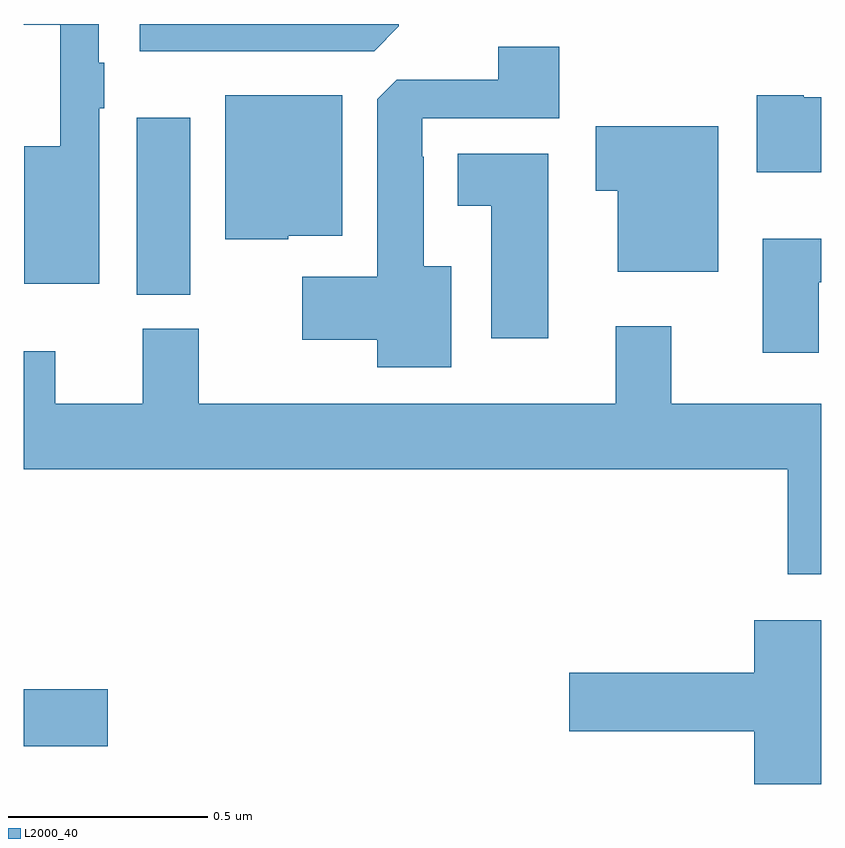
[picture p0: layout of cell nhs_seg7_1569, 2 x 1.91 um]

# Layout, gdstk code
import gdstk
lib = gdstk.Library(unit=1e-6, precision=1e-09)
def R(c, l, rs):  # rectangles x0, y0, x1, y1
    for r in rs: c.add(gdstk.rectangle(r[:2], r[2:], *l))
def P(c, l, *ps):  # polygons
    for p in ps: c.add(gdstk.Polygon(p, *l))
L2000_40 = (2000, 40)

nhs_seg7_1569 = lib.new_cell('nhs_seg7_1569')
R(nhs_seg7_1569, L2000_40, [(132,1065.19,132.211,1065.332), (132.284,1066.321,132.418,1066.765)])
P(nhs_seg7_1569, L2000_40, [(132.941,1066.994),(132.941,1067),(132.291,1067),(132.291,1066.932),(132.879,1066.932)],
  [(132.19,1066.789),(132.202,1066.789),(132.202,1066.903),(132.189,1066.903),(132.189,1067),(132,1067),(132,1066.998),(132.092,1066.998),(132.092,1066.693),(132.002,1066.693),(132.002,1066.349),(132.19,1066.349)],
  [(133.072,1066.393),(133.003,1066.393),(133.003,1066.667),(132.999,1066.667),(132.999,1066.764),(133.343,1066.764),(133.343,1066.943),(133.19,1066.943),(133.19,1066.86),(132.936,1066.86),(132.887,1066.811),(132.887,1066.366),(132.699,1066.366),(132.699,1066.208),(132.887,1066.208),(132.887,1066.139),(133.072,1066.139)],
  [(132.663,1066.469),(132.799,1066.469),(132.799,1066.822),(132.506,1066.822),(132.506,1066.46),(132.663,1066.46)],
  [(134,1066.816),(133.956,1066.816),(133.956,1066.822),(133.838,1066.822),(133.838,1066.628),(134,1066.628)],
  [(133.741,1066.744),(133.434,1066.744),(133.434,1066.582),(133.49,1066.582),(133.49,1066.379),(133.741,1066.379)],
  [(133.315,1066.675),(133.088,1066.675),(133.088,1066.544),(133.172,1066.544),(133.172,1066.212),(133.315,1066.212)],
  [(133.993,1066.353),(134,1066.353),(134,1066.462),(133.853,1066.462),(133.853,1066.176),(133.993,1066.176)],
  [(134,1066.048),(133.624,1066.048),(133.624,1066.243),(133.484,1066.243),(133.484,1066.048),(132.439,1066.048),(132.439,1066.236),(132.299,1066.236),(132.299,1066.048),(132.079,1066.048),(132.079,1066.18),(132,1066.18),(132,1065.884),(133.915,1065.884),(133.915,1065.621),(134,1065.621)],
  [(134,1065.505),(133.832,1065.505),(133.832,1065.374),(133.368,1065.374),(133.368,1065.227),(133.832,1065.227),(133.832,1065.095),(134,1065.095)])

lib.write_gds('nhs_seg7_1569.gds')
